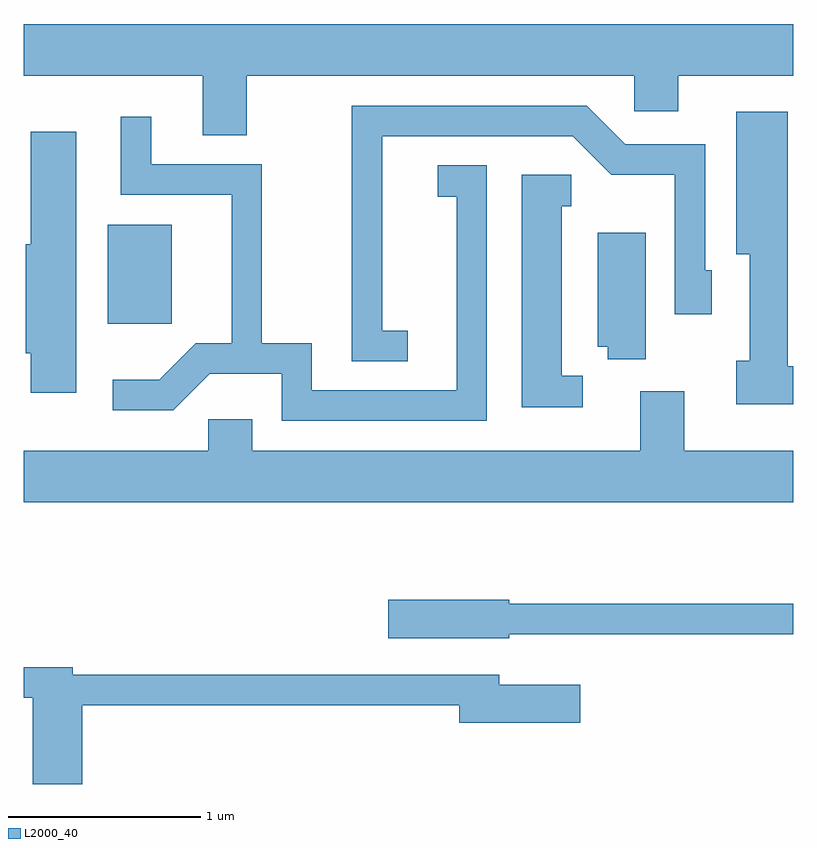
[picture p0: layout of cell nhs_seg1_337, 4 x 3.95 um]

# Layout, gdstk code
import gdstk
lib = gdstk.Library(unit=1e-6, precision=1e-09)
def R(c, l, rs):  # rectangles x0, y0, x1, y1
    for r in rs: c.add(gdstk.rectangle(r[:2], r[2:], *l))
def P(c, l, *ps):  # polygons
    for p in ps: c.add(gdstk.Polygon(p, *l))
L2000_40 = (2000, 40)

nhs_seg1_337 = lib.new_cell('nhs_seg1_337')
R(nhs_seg1_337, L2000_40, [(196.046,856.106,196.379,856.619)])
P(nhs_seg1_337, L2000_40, [(196.769,857.396),(198.786,857.396),(198.786,857.211),(199.014,857.211),(199.014,857.396),(199.611,857.396),(199.611,857.664),(195.611,857.664),(195.611,857.396),(196.541,857.396),(196.541,857.086),(196.769,857.086)],
  [(197.608,856.069),(197.474,856.069),(197.474,857.081),(198.464,857.081),(198.664,856.881),(198.996,856.881),(198.996,856.156),(199.189,856.156),(199.189,856.384),(199.154,856.384),(199.154,857.039),(198.737,857.039),(198.537,857.239),(197.316,857.239),(197.316,855.911),(197.608,855.911)],
  [(199.611,855.884),(199.584,855.884),(199.584,857.209),(199.316,857.209),(199.316,856.466),(199.386,856.466),(199.386,855.914),(199.316,855.914),(199.316,855.686),(199.611,855.686)],
  [(198.019,856.929),(197.763,856.929),(197.763,856.766),(197.861,856.766),(197.861,855.759),(197.109,855.759),(197.109,856.004),(196.849,856.004),(196.849,856.934),(196.274,856.934),(196.274,857.183),(196.116,857.183),(196.116,856.776),(196.691,856.776),(196.691,856.004),(196.504,856.004),(196.314,855.814),(196.073,855.814),(196.073,855.656),(196.387,855.656),(196.577,855.846),(196.951,855.846),(196.951,855.601),(198.019,855.601)],
  [(195.884,857.104),(195.646,857.104),(195.646,856.519),(195.621,856.519),(195.621,855.951),(195.646,855.951),(195.646,855.746),(195.884,855.746)],
  [(198.518,855.834),(198.409,855.834),(198.409,856.716),(198.458,856.716),(198.458,856.879),(198.201,856.879),(198.201,855.671),(198.518,855.671)],
  [(198.844,856.579),(198.596,856.579),(198.596,855.986),(198.646,855.986),(198.646,855.921),(198.844,855.921)],
  [(199.611,855.444),(199.044,855.444),(199.044,855.754),(198.816,855.754),(198.816,855.444),(196.799,855.444),(196.799,855.609),(196.571,855.609),(196.571,855.444),(195.611,855.444),(195.611,855.176),(199.611,855.176)],
  [(198.134,854.491),(199.611,854.491),(199.611,854.649),(198.134,854.649),(198.134,854.669),(197.506,854.669),(197.506,854.471),(198.134,854.471)],
  [(195.914,854.121),(197.876,854.121),(197.876,854.031),(198.504,854.031),(198.504,854.229),(198.084,854.229),(198.084,854.279),(195.864,854.279),(195.864,854.319),(195.611,854.319),(195.611,854.161),(195.656,854.161),(195.656,853.712),(195.914,853.712)])

lib.write_gds('nhs_seg1_337.gds')
